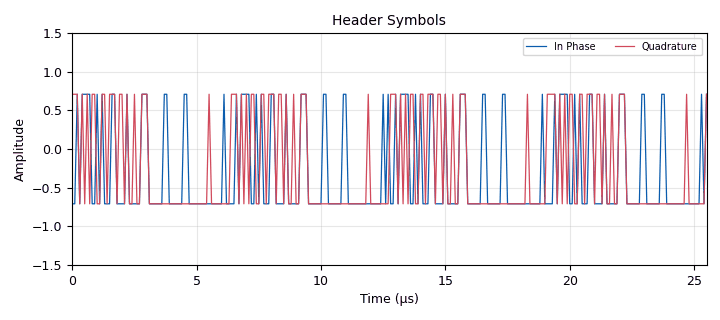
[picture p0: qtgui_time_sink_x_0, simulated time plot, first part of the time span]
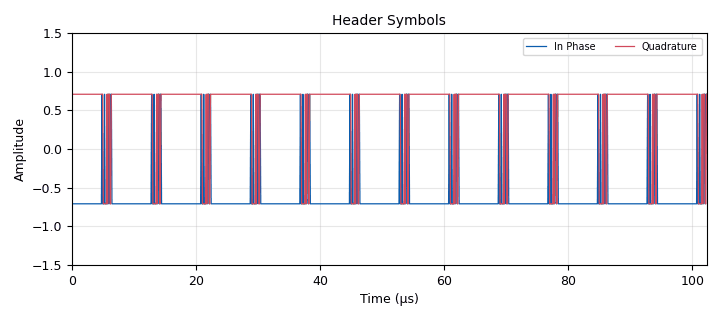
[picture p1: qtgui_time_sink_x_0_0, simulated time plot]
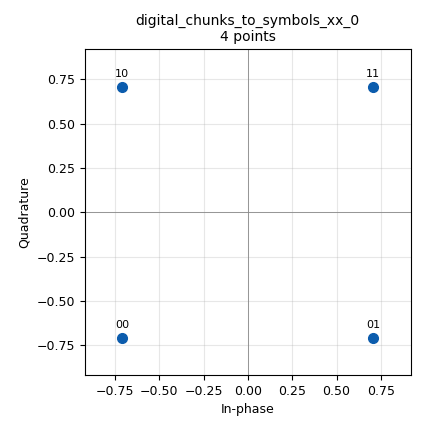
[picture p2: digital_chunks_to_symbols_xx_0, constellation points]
options:
  parameters:
    category: Packet Operators
    generate_options: qt_gui
    id: tx_stage0
    output_language: python
    title: Stage 0 TX
  states: {}

blocks:
- name: Const_HDR
  id: variable_constellation
  parameters:
    const_points: digital.psk_4()[0]
    dims: '1'
    normalization: digital.constellation.AMPLITUDE_NORMALIZATION
    precision: '8'
    rot_sym: '4'
    soft_dec_lut: '''auto'''
    sym_map: digital.psk_4()[1]
    type: calcdist
  states: {}
- name: Const_PLD
  id: variable_constellation
  parameters:
    const_points: digital.psk_4()[0]
    dims: '1'
    normalization: digital.constellation.AMPLITUDE_NORMALIZATION
    precision: '8'
    rot_sym: '4'
    soft_dec_lut: '''auto'''
    sym_map: digital.psk_4()[1]
    type: calcdist
  states: {}
- name: bandwidth
  id: variable
  parameters:
    value: 1e6
  states: {}
- name: dum_enc
  id: variable_dummy_encoder_def
  parameters:
    framebits: '4128'
    ndim: '0'
  states: {}
- name: eb
  id: variable
  parameters:
    value: '0.25'
  states: {}
- name: filt_delay
  id: variable
  parameters:
    value: int(1+(taps_per_filt-1)//2)
  states: {}
- name: hdr_format
  id: variable
  parameters:
    value: digital.header_format_counter(digital.packet_utils.default_access_code, 3, Const_PLD.bits_per_symbol())
  states: {}
- name: nfilts
  id: variable
  parameters:
    value: '32'
  states: {}
- name: sps
  id: variable
  parameters:
    value: '5'
  states: {}
- name: taps_per_filt
  id: variable
  parameters:
    value: len(tx_rrc_taps)/nfilts
  states: {}
- name: tx_rrc_taps
  id: variable_rrc_filter_taps
  parameters:
    alpha: eb
    gain: nfilts
    ntaps: 5*sps*nfilts
    samp_rate: nfilts
    sym_rate: '1.0'
  states: {}
- name: blocks_complex_to_imag_0
  id: blocks_complex_to_imag
  parameters: {}
  states: {}
- name: blocks_complex_to_imag_0_0
  id: blocks_complex_to_imag
  parameters: {}
  states: {}
- name: blocks_complex_to_real_0
  id: blocks_complex_to_real
  parameters: {}
  states: {}
- name: blocks_complex_to_real_0_0
  id: blocks_complex_to_real
  parameters: {}
  states: {}
- name: blocks_message_strobe_random_0
  id: blocks_message_strobe_random
  parameters:
    dist: blocks.STROBE_UNIFORM
    mean: '250'
    msg: ' pmt.cons(pmt.PMT_NIL, pmt.make_u8vector(16, 0xAA))'
    std: '0'
  states: {}
- name: blocks_null_sink_0
  id: blocks_null_sink
  parameters:
    type: complex
  states: {state: disabled}
- name: blocks_repack_bits_bb_0
  id: blocks_repack_bits_bb
  parameters:
    endianness: gr.GR_MSB_FIRST
    k: '8'
    l: Const_HDR.bits_per_symbol()
    len_tag_key: packet_len
  states: {}
- name: blocks_repack_bits_bb_0_0
  id: blocks_repack_bits_bb
  parameters:
    endianness: gr.GR_MSB_FIRST
    k: '8'
    l: Const_PLD.bits_per_symbol()
    len_tag_key: packet_len
  states: {}
- name: blocks_tagged_stream_multiply_length_0
  id: blocks_tagged_stream_multiply_length
  parameters:
    c: sps
    lengthtagname: packet_len
    type: complex
  states: {state: disabled}
- name: blocks_tagged_stream_mux_0
  id: blocks_tagged_stream_mux
  parameters:
    lengthtagname: packet_len
    ninputs: '2'
    type: complex
  states: {state: disabled}
- name: blocks_throttle_0
  id: blocks_throttle
  parameters:
    samples_per_second: bandwidth/(1+eb)
    type: complex
  states: {state: disabled}
- name: blocks_throttle_0_0
  id: blocks_throttle
  parameters:
    samples_per_second: bandwidth/(1+eb)
    type: complex
  states: {state: disabled}
- name: digital_burst_shaper_xx_0
  id: digital_burst_shaper_xx
  parameters:
    insert_phasing: 'True'
    length_tag_name: packet_len
    post_padding: filt_delay
    pre_padding: '0'
    type: complex
    window: firdes.window(window.WIN_HANN, 20, 0)
  states: {state: disabled}
- name: digital_chunks_to_symbols_xx_0
  id: digital_chunks_to_symbols_xx
  parameters:
    dimension: '1'
    in_type: byte
    out_type: complex
    symbol_table: Const_HDR.points()
  states: {}
- name: digital_chunks_to_symbols_xx_0_0
  id: digital_chunks_to_symbols_xx
  parameters:
    dimension: '1'
    in_type: byte
    out_type: complex
    symbol_table: Const_PLD.points()
  states: {}
- name: digital_crc32_async_bb_1
  id: digital_crc32_async_bb
  parameters:
    check: 'False'
  states: {}
- name: digital_map_bb_1
  id: digital_map_bb
  parameters:
    map: Const_HDR.pre_diff_code()
  states: {}
- name: digital_map_bb_1_0
  id: digital_map_bb
  parameters:
    map: Const_PLD.pre_diff_code()
  states: {}
- name: digital_protocol_formatter_async_0
  id: digital_protocol_formatter_async
  parameters:
    format: hdr_format
  states: {}
- name: fec_async_encoder_0
  id: fec_async_encoder
  parameters:
    encoder: dum_enc
    mtu: '1500'
    packed: 'True'
    rev_pack: 'False'
    rev_unpack: 'False'
  states: {}
- name: fec_async_encoder_0_0
  id: fec_async_encoder
  parameters:
    encoder: dum_enc
    mtu: '1500'
    packed: 'True'
    rev_pack: 'False'
    rev_unpack: 'False'
  states: {}
- name: mod_header
  id: virtual_sink
  parameters:
    stream_id: Mod Header
  states: {state: disabled}
- name: mod_payload
  id: virtual_sink
  parameters:
    stream_id: Mod Payload
  states: {state: disabled}
- name: pdu_pdu_to_tagged_stream_0
  id: pdu_pdu_to_tagged_stream
  parameters:
    tag: packet_len
    type: byte
  states: {}
- name: pdu_pdu_to_tagged_stream_0_0
  id: pdu_pdu_to_tagged_stream
  parameters:
    tag: packet_len
    type: byte
  states: {}
- name: pfb_arb_resampler_xxx_0
  id: pfb_arb_resampler_xxx
  parameters:
    atten: '100'
    nfilts: nfilts
    rrate: sps
    samp_delay: filt_delay
    taps: tx_rrc_taps
    type: ccf
  states: {state: disabled}
- name: qtgui_time_sink_x_0
  id: qtgui_time_sink_x
  parameters:
    ctrlpanel: 'True'
    grid: 'True'
    label1: In Phase
    label2: Quadrature
    name: '"Header Symbols"'
    nconnections: '2'
    size: '1024'
    srate: 10e6
    tr_mode: qtgui.TRIG_MODE_TAG
    tr_tag: '"packet_len"'
    type: float
    ymax: '1.5'
    ymin: '-1.5'
  states: {}
- name: qtgui_time_sink_x_0_0
  id: qtgui_time_sink_x
  parameters:
    ctrlpanel: 'True'
    grid: 'True'
    label1: In Phase
    label2: Quadrature
    name: '"Header Symbols"'
    nconnections: '2'
    size: '1024'
    srate: 10e6
    tr_tag: '"packet_len"'
    type: float
    ymax: '1.5'
    ymin: '-1.5'
  states: {}
- name: rx_mod_header
  id: virtual_source
  parameters:
    stream_id: Mod Header
  states: {state: disabled}
- name: rx_mod_payload
  id: virtual_source
  parameters:
    stream_id: Mod Payload
  states: {state: disabled}

connections:
- [blocks_complex_to_imag_0, '0', qtgui_time_sink_x_0, '1']
- [blocks_complex_to_imag_0_0, '0', qtgui_time_sink_x_0_0, '1']
- [blocks_complex_to_real_0, '0', qtgui_time_sink_x_0, '0']
- [blocks_complex_to_real_0_0, '0', qtgui_time_sink_x_0_0, '0']
- [blocks_message_strobe_random_0, strobe, digital_crc32_async_bb_1, in]
- [blocks_repack_bits_bb_0, '0', digital_map_bb_1, '0']
- [blocks_repack_bits_bb_0_0, '0', digital_map_bb_1_0, '0']
- [blocks_tagged_stream_multiply_length_0, '0', blocks_null_sink_0, '0']
- [blocks_tagged_stream_mux_0, '0', digital_burst_shaper_xx_0, '0']
- [blocks_throttle_0, '0', mod_header, '0']
- [blocks_throttle_0_0, '0', mod_payload, '0']
- [digital_burst_shaper_xx_0, '0', pfb_arb_resampler_xxx_0, '0']
- [digital_chunks_to_symbols_xx_0, '0', blocks_complex_to_imag_0, '0']
- [digital_chunks_to_symbols_xx_0, '0', blocks_complex_to_real_0, '0']
- [digital_chunks_to_symbols_xx_0, '0', blocks_throttle_0, '0']
- [digital_chunks_to_symbols_xx_0_0, '0', blocks_complex_to_imag_0_0, '0']
- [digital_chunks_to_symbols_xx_0_0, '0', blocks_complex_to_real_0_0, '0']
- [digital_chunks_to_symbols_xx_0_0, '0', blocks_throttle_0_0, '0']
- [digital_crc32_async_bb_1, out, fec_async_encoder_0, in]
- [digital_map_bb_1, '0', digital_chunks_to_symbols_xx_0, '0']
- [digital_map_bb_1_0, '0', digital_chunks_to_symbols_xx_0_0, '0']
- [digital_protocol_formatter_async_0, header, fec_async_encoder_0_0, in]
- [digital_protocol_formatter_async_0, payload, pdu_pdu_to_tagged_stream_0, pdus]
- [fec_async_encoder_0, out, digital_protocol_formatter_async_0, in]
- [fec_async_encoder_0_0, out, pdu_pdu_to_tagged_stream_0_0, pdus]
- [pdu_pdu_to_tagged_stream_0, '0', blocks_repack_bits_bb_0_0, '0']
- [pdu_pdu_to_tagged_stream_0_0, '0', blocks_repack_bits_bb_0, '0']
- [pfb_arb_resampler_xxx_0, '0', blocks_tagged_stream_multiply_length_0, '0']
- [rx_mod_header, '0', blocks_tagged_stream_mux_0, '0']
- [rx_mod_payload, '0', blocks_tagged_stream_mux_0, '1']

metadata:
  file_format: 1
  grc_version: 3.10.3.0
